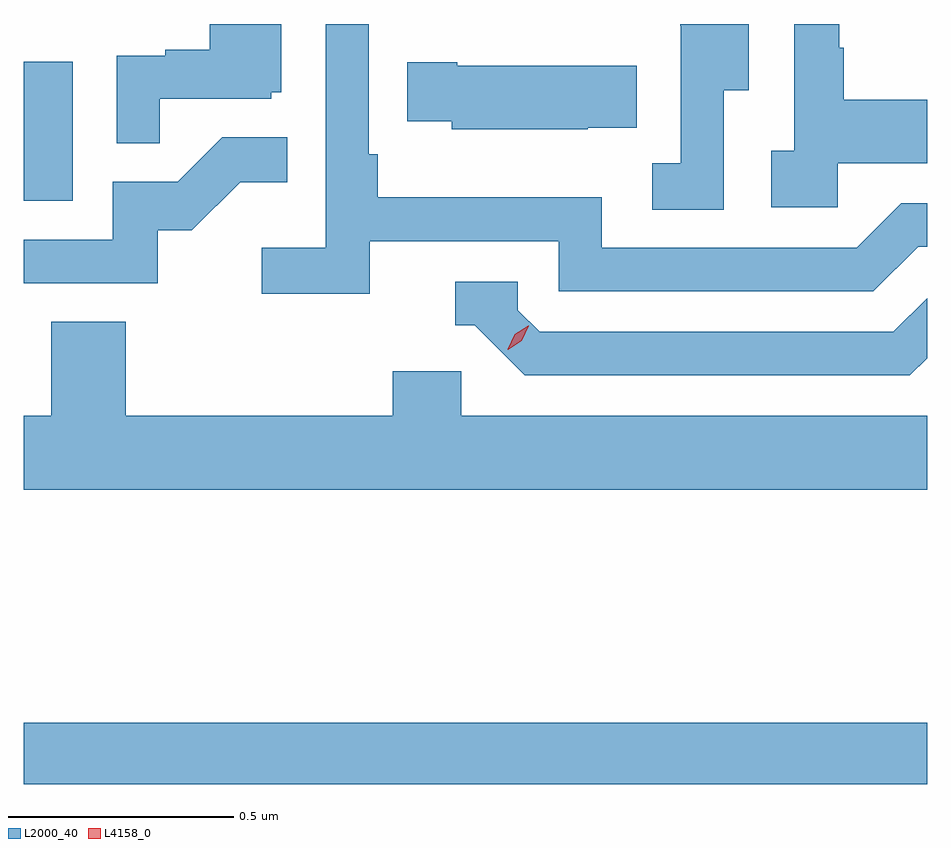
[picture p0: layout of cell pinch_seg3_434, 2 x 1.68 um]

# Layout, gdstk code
import gdstk
lib = gdstk.Library(unit=1e-6, precision=1e-09)
def R(c, l, rs):  # rectangles x0, y0, x1, y1
    for r in rs: c.add(gdstk.rectangle(r[:2], r[2:], *l))
def P(c, l, *ps):  # polygons
    for p in ps: c.add(gdstk.Polygon(p, *l))
L2000_40 = (2000, 40)
L4158_0 = (4158, 0)

pinch_seg3_434 = lib.new_cell('pinch_seg3_434')
R(pinch_seg3_434, L2000_40, [(893.98,692.272,895.98,692.408), (893.98,693.564,894.088,693.871)])
P(pinch_seg3_434, L2000_40, [(895.782,693.647),(895.98,693.647),(895.98,693.787),(895.795,693.787),(895.795,693.902),(895.785,693.902),(895.785,693.955),(895.686,693.955),(895.686,693.674),(895.635,693.674),(895.635,693.549),(895.782,693.549)],
  [(894.746,693.474),(895.164,693.474),(895.164,693.363),(895.861,693.363),(895.96,693.462),(895.98,693.462),(895.98,693.558),(895.923,693.558),(895.824,693.459),(895.26,693.459),(895.26,693.571),(894.764,693.571),(894.764,693.667),(894.744,693.667),(894.744,693.955),(894.648,693.955),(894.648,693.46),(894.507,693.46),(894.507,693.358),(894.746,693.358)],
  [(895.53,693.808),(895.585,693.808),(895.585,693.955),(895.433,693.955),(895.433,693.951),(895.434,693.951),(895.434,693.647),(895.371,693.647),(895.371,693.544),(895.53,693.544)],
  [(894.281,693.789),(894.528,693.789),(894.528,693.804),(894.55,693.804),(894.55,693.955),(894.392,693.955),(894.392,693.898),(894.293,693.898),(894.293,693.885),(894.186,693.885),(894.186,693.691),(894.281,693.691)],
  [(895.229,693.725),(895.337,693.725),(895.337,693.862),(894.94,693.862),(894.94,693.87),(894.829,693.87),(894.829,693.74),(894.927,693.74),(894.927,693.722),(895.229,693.722)],
  [(894.276,693.498),(894.352,693.498),(894.459,693.605),(894.563,693.605),(894.563,693.704),(894.419,693.704),(894.321,693.606),(894.177,693.606),(894.177,693.477),(893.98,693.477),(893.98,693.381),(894.276,693.381)],
  [(895.98,693.215),(895.98,693.348),(895.905,693.273),(895.122,693.273),(895.074,693.321),(895.074,693.384),(894.935,693.384),(894.935,693.288),(894.978,693.288),(895.089,693.177),(895.942,693.177)],
  [(895.98,693.088),(894.948,693.088),(894.948,693.186),(894.797,693.186),(894.797,693.088),(894.206,693.088),(894.206,693.296),(894.041,693.296),(894.041,693.088),(893.98,693.088),(893.98,692.924),(895.98,692.924)])
P(pinch_seg3_434, L4158_0, [(895.051,693.234),(895.051,693.235),(895.067,693.268),(895.097,693.287),(895.098,693.287),(895.098,693.287),(895.082,693.254),(895.052,693.234)])

lib.write_gds('pinch_seg3_434.gds')
